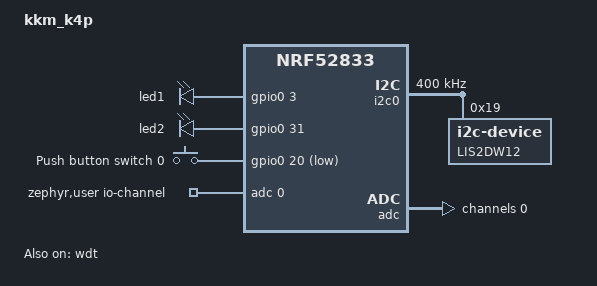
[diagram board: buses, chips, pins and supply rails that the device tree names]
// Copyright (c) 2024 Nordic Semiconductor ASA
// SPDX-License-Identifier: Apache-2.0

/dts-v1/;
#include <nordic/nrf52833_qdaa.dtsi>
#include "kkm_k4p-pinctrl.dtsi"
#include <zephyr/dt-bindings/input/input-event-codes.h>

/ {
	model = "kkm_k4p";
	compatible = "KKM,kkm_k4p";

	chosen {
		zephyr,sram = &sram0;
		zephyr,flash = &flash0;
		zephyr,code-partition = &slot0_partition;
	};

	leds {
		compatible = "gpio-leds";
		led0: led_0 {
			gpios = <&gpio0 3 GPIO_ACTIVE_HIGH>;
			label = "led1";
		};
		led1: led_1 {
			gpios = <&gpio0 31 GPIO_ACTIVE_HIGH>;
			label = "led2";
		};
	};

	buttons {
		compatible = "gpio-keys";
		button0: button_0 {
			gpios = <&gpio0 20 (GPIO_PULL_UP | GPIO_ACTIVE_LOW)>;
			label = "Push button switch 0";
			zephyr,code = <INPUT_KEY_0>;
		};
  };

 	aliases {
		sw0 = &button0;
  };

  zephyr,user {
    io-channels = <&adc 0>;
  };
};
 
&flash0 {
	partitions {
		compatible = "fixed-partitions";
		#address-cells = <1>;
		#size-cells = <1>;

		boot_partition: partition@0 {
			label = "mcuboot";
			reg = <0x0 0xc000>;
		};
		slot0_partition: partition@c000 {
			label = "image-0";
			reg = <0x0000C000 0x37000>;
		};
		slot1_partition: partition@43000 {
			label = "image-1";
			reg = <0x00043000 0x37000>;
		};
		storage_partition: partition@7a000 {
			label = "storage";
			reg = <0x0007A000 0x00006000>;
		};
	};
};

&reg0 {
  status = "disabled";
};

&reg1 {
	regulator-initial-mode = <NRF5X_REG_MODE_DCDC>;
};

&uicr {
	gpio-as-nreset;
};
&gpiote {
	status = "okay";
};

&gpio0 {
	status = "okay";
};

&wdt {
  status = "okay";
};

&i2c0 {
  compatible = "nordic,nrf-twim";
  status = "okay";
  clock-frequency = <I2C_BITRATE_FAST>;
  pinctrl-0 = <&i2c0_default>;
  pinctrl-1 = <&i2c0_sleep>;
  pinctrl-names = "default", "sleep";
  lis2dw12: lis2dw12@19 {
    compatible = "i2c-device";
    label = "LIS2DW12";
    reg = <0x19>;
  };
};

&adc {
  #address-cells = <1>;
  #size-cells = <0>;
  status="okay";

  channel@0 {
    reg = <0>;
    zephyr,gain = "ADC_GAIN_1_6";
    zephyr,reference = "ADC_REF_INTERNAL";
    zephyr,acquisition-time = <ADC_ACQ_TIME(ADC_ACQ_TIME_MICROSECONDS, 10)>;
    zephyr,input-positive = <NRF_SAADC_VDD>;
    zephyr,resolution = <14>;
    zephyr,oversampling = <8>;
  };

  zephyr,pm-device-runtime-auto;
};

